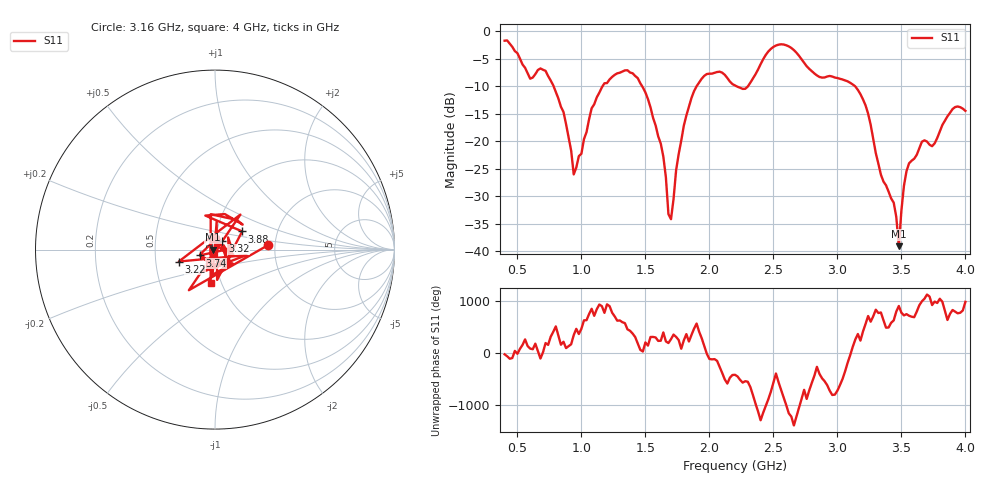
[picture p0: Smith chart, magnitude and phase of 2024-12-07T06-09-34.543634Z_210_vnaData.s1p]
!Created with skrf (http://scikit-rf.org).
# Hz S RI R 50.0
!freq ReS11 ImS11
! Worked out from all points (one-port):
!   181 points, 400 MHz to 4 GHz, reference 50 ohm
!   lowest |S11| = -39.0 dB at 3.48 GHz (marker M1), VSWR 1.02, Z = 48.9 - j0.0612 ohm
!   |S11| at or under -10 dB: 783.3 MHz to 1.164 GHz (381.2 MHz wide, 39.1 % of centre); 1.476 GHz to 1.899 GHz (423.6 MHz wide, 25.1 % of centre); 3.14 GHz to end of sweep (the widest 3 of 4)
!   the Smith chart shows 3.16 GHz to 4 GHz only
!   S11 on the Smith chart (normalised r, x): 3.16 GHz: 1.83, +0.09; 3.22 GHz: 0.66, -0.09; 3.32 GHz: 1.08, +0.10; 3.74 GHz: 0.84, -0.05; 3.88 GHz: 1.32, +0.28; 4 GHz: 0.89, -0.35
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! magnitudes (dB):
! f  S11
! 400 MHz  -1.7
! 600 MHz  -8.6
! 720 MHz  -7.2
! 860 MHz  -14.6
! 940 MHz  -26.0
! 1.08 GHz  -14.0
! 1.3 GHz  -7.5
! 1.52 GHz  -12.3
! 1.64 GHz  -22.7
! 1.68 GHz  -33.2
! 1.7 GHz  -34.1
! 1.76 GHz  -22.3
! 1.86 GHz  -12.1
! 1.94 GHz  -8.6
! 2.2 GHz  -9.8
! 2.5 GHz  -2.8
! 2.66 GHz  -3.4
! 3.1 GHz  -9.3
! 3.16 GHz  -10.6
! 3.22 GHz  -13.4
! 3.32 GHz  -24.0
! 3.44 GHz  -31.1
! 3.48 GHz  -39.0
! 3.52 GHz  -28.0
! 3.56 GHz  -24.0
! 3.74 GHz  -20.9
! 3.88 GHz  -14.8
! 4 GHz  -14.4
